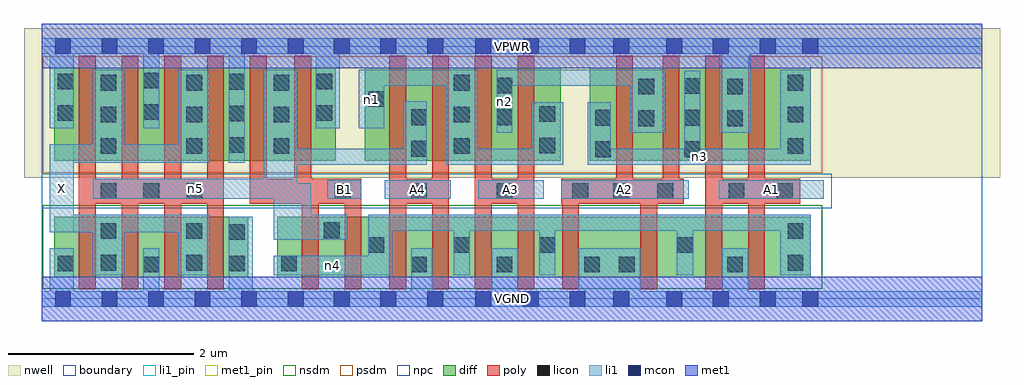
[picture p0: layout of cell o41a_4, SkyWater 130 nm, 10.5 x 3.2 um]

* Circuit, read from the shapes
.subckt o41a_4 A1 A2 A3 A4 B1 VGND VPWR X n1 n2 n3 n4 n5
XM1 X n5 VGND VSUBS sky130_fd_pr__nfet_01v8 w=0.65 l=0.18 m=4
XM2 n5 B1 n4 VSUBS sky130_fd_pr__nfet_01v8 w=0.65 l=0.18 m=2
XM3 VGND A4 n4 VSUBS sky130_fd_pr__nfet_01v8 w=0.65 l=0.18 m=2
XM4 VGND A3 n4 VSUBS sky130_fd_pr__nfet_01v8 w=0.65 l=0.18 m=2
XM5 VGND A2 n4 VSUBS sky130_fd_pr__nfet_01v8 w=0.65 l=0.18 m=2
XM6 VGND A1 n4 VSUBS sky130_fd_pr__nfet_01v8 w=0.65 l=0.18 m=2
XM7 X n5 VPWR n6 sky130_fd_pr__pfet_01v8 w=1 l=0.18 m=4
XM8 n5 B1 VPWR n6 sky130_fd_pr__pfet_01v8 w=1 l=0.18 m=2
XM9 n5 A4 n1 n6 sky130_fd_pr__pfet_01v8 w=1 l=0.18 m=2
XM10 n2 A3 n1 n6 sky130_fd_pr__pfet_01v8 w=1 l=0.18 m=2
XM11 n2 A2 n3 n6 sky130_fd_pr__pfet_01v8 w=1 l=0.18 m=2
XM12 VPWR A1 n3 n6 sky130_fd_pr__pfet_01v8 w=1 l=0.18 m=2
.ends

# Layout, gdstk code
import gdstk
lib = gdstk.Library(unit=1e-6, precision=1e-09)
def R(c, l, rs):  # rectangles x0, y0, x1, y1
    for r in rs: c.add(gdstk.rectangle(r[:2], r[2:], *l))
def A(c, l, x, y, w, h, nx, ny, dx, dy):  # array of equal rectangles
    R(c, l, [(x+i*dx, y+j*dy, x+i*dx+w, y+j*dy+h) for i in range(nx) for j in range(ny)])
nwell = (64, 20)
diff = (65, 20)
poly = (66, 20)
licon = (66, 44)
li1_pin = (67, 16)
li1 = (67, 20)
mcon = (67, 44)
met1_pin = (68, 16)
met1 = (68, 20)
nsdm = (93, 44)
psdm = (94, 20)
npc = (95, 20)
boundary = (235, 4)

o41a_4 = lib.new_cell('o41a_4')
R(o41a_4, nwell, [(-0.19,1.305,10.31,2.91), (0,1.305,10.12,2.91)])
R(o41a_4, diff, [(0.135,0.235,2.225,0.885), (2.535,0.235,8.275,0.885), (0.135,1.485,3.165,2.485), (3.475,1.485,5.585,2.485), (5.895,1.485,8.275,2.485)])
A(o41a_4, poly, 0.4, 0.105, 0.18, 2.51, 4, 1, 0.46, 0)
A(o41a_4, poly, 3.74, 0.105, 0.18, 2.51, 4, 1, 0.46, 0)
R(o41a_4, poly, [(2.8,0.105,2.98,1.295), (3.26,0.105,3.44,1.295), (5.6,0.105,5.78,1.295), (6.44,0.105,6.62,1.295), (7.14,0.105,7.32,2.615), (7.6,0.105,7.78,2.615), (0.4,1.025,1.96,1.295), (2.24,1.025,3.44,1.295), (2.24,1.025,2.42,2.615), (2.72,1.025,2.9,2.615), (3.74,1.025,4.38,1.295), (4.66,1.025,5.3,1.295), (5.59,1.025,6.91,1.295), (6.18,1.025,6.36,2.615), (6.68,1.025,6.86,2.615), (7.14,1.025,8.16,1.295)])
A(o41a_4, licon, 3.515, 0.495, 0.17, 0.17, 3, 1, 0.92, 0)
A(o41a_4, licon, 6.915, 1.525, 0.17, 0.17, 1, 3, 0, 0.34)
A(o41a_4, licon, 0.635, 1.56, 0.17, 0.17, 1, 3, 0, 0.34)
A(o41a_4, licon, 1.555, 1.56, 0.17, 0.17, 1, 3, 0, 0.34)
A(o41a_4, licon, 2.495, 1.56, 0.17, 0.17, 1, 3, 0, 0.34)
A(o41a_4, licon, 4.435, 1.56, 0.17, 0.17, 1, 3, 0, 0.34)
A(o41a_4, licon, 8.025, 1.56, 0.17, 0.17, 1, 3, 0, 0.34)
A(o41a_4, licon, 2.015, 1.57, 0.17, 0.17, 1, 3, 0, 0.34)
R(o41a_4, licon, [(1.095,0.285,1.265,0.455), (3.975,0.285,4.145,0.455), (4.895,0.285,5.065,0.455), (5.835,0.285,6.005,0.455), (6.21,0.285,6.38,0.455), (7.375,0.285,7.545,0.455), (0.175,0.295,0.345,0.465), (2.015,0.295,2.185,0.465), (2.575,0.295,2.745,0.465), (0.635,0.305,0.805,0.475), (1.555,0.305,1.725,0.475), (8.025,0.305,8.195,0.475), (6.84,0.495,7.01,0.665), (2.015,0.635,2.185,0.805), (0.635,0.645,0.805,0.815), (1.555,0.645,1.725,0.815), (8.025,0.645,8.195,0.815), (3.035,0.655,3.205,0.825), (0.635,1.075,0.805,1.245), (1.095,1.075,1.265,1.245), (1.56,1.075,1.73,1.245), (3.155,1.075,3.325,1.245), (3.975,1.075,4.145,1.245), (4.895,1.075,5.065,1.245), (5.71,1.075,5.88,1.245), (6.15,1.075,6.32,1.245), (6.625,1.075,6.795,1.245), (7.39,1.075,7.56,1.245), (7.91,1.075,8.08,1.245), (5.955,1.525,6.125,1.695), (3.975,1.53,4.145,1.7), (5.355,1.565,5.525,1.735), (6.42,1.86,6.59,2.03), (7.375,1.86,7.545,2.03), (5.955,1.865,6.125,2.035), (3.975,1.87,4.145,2.04), (4.895,1.87,5.065,2.04), (5.355,1.905,5.525,2.075), (0.175,1.915,0.345,2.085), (2.955,1.915,3.125,2.085), (1.095,1.925,1.265,2.095), (3.515,2.065,3.685,2.235), (6.42,2.2,6.59,2.37), (7.375,2.2,7.545,2.37), (4.895,2.21,5.065,2.38), (0.175,2.255,0.345,2.425), (2.955,2.255,3.125,2.425), (1.095,2.265,1.265,2.435)])
R(o41a_4, li1_pin, [(0.085,0.715,0.345,1.665), (3.075,1.075,3.44,1.275), (3.69,1.075,4.4,1.275), (4.695,1.075,5.4,1.275), (5.59,1.075,6.96,1.275), (7.285,1.075,8.415,1.275)])
R(o41a_4, li1, [(0,-0.085,10.12,0.085), (0.085,-0.085,0.345,0.545), (1.095,-0.085,1.265,0.545), (2.015,-0.085,2.27,0.885), (3.975,-0.085,4.2,0.545), (4.84,-0.085,5.12,0.545), (5.78,-0.085,6.44,0.545), (7.32,-0.085,7.6,0.545), (0.55,0.255,0.89,0.905), (1.47,0.255,1.81,0.905), (2.495,0.255,3.77,0.465), (3.515,0.255,3.77,0.905), (4.435,0.255,4.605,0.905), (5.355,0.255,5.525,0.905), (6.835,0.255,7.01,0.905), (7.945,0.255,8.275,0.905), (2.495,0.635,3.29,0.905), (2.495,0.635,2.9,1.245), (0.085,0.715,1.81,0.905), (0.085,0.715,0.345,1.665), (3.515,0.735,8.275,0.905), (0.55,1.075,2.75,1.295), (2.39,1.075,2.75,2.465), (3.075,1.075,3.44,1.275), (3.69,1.075,4.4,1.275), (4.695,1.075,5.4,1.275), (5.59,1.075,6.96,1.275), (7.285,1.075,8.415,1.275), (2.39,1.445,4.145,1.615), (3.89,1.445,4.145,2.125), (4.35,1.445,4.69,2.465), (4.35,1.445,5.61,1.615), (5.27,1.445,5.61,2.115), (5.875,1.445,8.275,1.615), (5.875,1.445,6.125,2.115), (6.915,1.445,7.085,2.455), (7.945,1.445,8.275,2.465), (0.085,1.465,1.81,1.665), (0.55,1.465,0.89,2.465), (1.47,1.465,1.81,2.465), (2.015,1.465,2.185,2.805), (4.895,1.785,5.065,2.465), (6.33,1.785,6.71,2.465), (7.29,1.785,7.63,2.805), (0.085,1.835,0.345,2.805), (1.095,1.835,1.265,2.805), (2.95,1.835,3.205,2.805), (3.41,1.835,3.685,2.465), (3.41,2.295,4.69,2.465), (4.895,2.295,6.71,2.465), (0,2.635,10.12,2.805)])
A(o41a_4, mcon, 0.145, -0.085, 0.17, 0.17, 5, 2, 0.5, 2.72)
A(o41a_4, mcon, 4.15, -0.085, 0.17, 0.17, 3, 2, 0.515, 2.72)
R(o41a_4, mcon, [(2.65,-0.085,2.82,0.085), (3.145,-0.085,3.315,0.085), (3.645,-0.085,3.815,0.085), (5.68,-0.085,5.85,0.085), (6.15,-0.085,6.32,0.085), (6.72,-0.085,6.89,0.085), (7.22,-0.085,7.39,0.085), (7.725,-0.085,7.895,0.085), (8.185,-0.085,8.355,0.085), (2.65,2.635,2.82,2.805), (3.145,2.635,3.315,2.805), (3.645,2.635,3.815,2.805), (5.68,2.635,5.85,2.805), (6.15,2.635,6.32,2.805), (6.72,2.635,6.89,2.805), (7.22,2.635,7.39,2.805), (7.725,2.635,7.895,2.805), (8.185,2.635,8.355,2.805)])
R(o41a_4, met1_pin, [(0,-0.24,10.12,0.24), (0,2.48,10.12,2.96)])
R(o41a_4, met1, [(0,-0.24,10.12,0.24), (0,2.48,10.12,2.96)])
R(o41a_4, nsdm, [(0.01,0.11,8.4,1.01)])
R(o41a_4, psdm, [(0.01,1.36,8.4,2.61)])
R(o41a_4, npc, [(0,0.975,8.5,1.345)])
R(o41a_4, boundary, [(0,0,10.12,2.72)])
o41a_4.add(gdstk.Label('A1', (7.85,1.175), layer=67, texttype=5))
o41a_4.add(gdstk.Label('A2', (6.275,1.175), layer=67, texttype=5))
o41a_4.add(gdstk.Label('A3', (5.047,1.175), layer=67, texttype=5))
o41a_4.add(gdstk.Label('A4', (4.045,1.175), layer=67, texttype=5))
o41a_4.add(gdstk.Label('B1', (3.257,1.175), layer=67, texttype=5))
o41a_4.add(gdstk.Label('X', (0.215,1.19), layer=67, texttype=5))
o41a_4.add(gdstk.Label('n4', (3.132,0.36), layer=67, texttype=5))
o41a_4.add(gdstk.Label('n5', (1.65,1.185), layer=67, texttype=5))
o41a_4.add(gdstk.Label('n1', (3.547,2.15), layer=67, texttype=5))
o41a_4.add(gdstk.Label('n2', (4.98,2.125), layer=67, texttype=5))
o41a_4.add(gdstk.Label('n3', (7.075,1.53), layer=67, texttype=5))
o41a_4.add(gdstk.Label('VPWR', (5.06,2.72), layer=68, texttype=5))
o41a_4.add(gdstk.Label('VGND', (5.06,0), layer=68, texttype=5))
o41a_4.add(gdstk.Label('A1', (7.85,1.175), layer=67, texttype=16))
o41a_4.add(gdstk.Label('A2', (6.275,1.175), layer=67, texttype=16))
o41a_4.add(gdstk.Label('A3', (5.047,1.175), layer=67, texttype=16))
o41a_4.add(gdstk.Label('A4', (4.045,1.175), layer=67, texttype=16))
o41a_4.add(gdstk.Label('B1', (3.257,1.175), layer=67, texttype=16))
o41a_4.add(gdstk.Label('X', (0.215,1.19), layer=67, texttype=16))
o41a_4.add(gdstk.Label('VPWR', (5.06,2.72), layer=68, texttype=16))
o41a_4.add(gdstk.Label('VGND', (5.06,0), layer=68, texttype=16))

lib.write_gds('o41a_4.gds')
